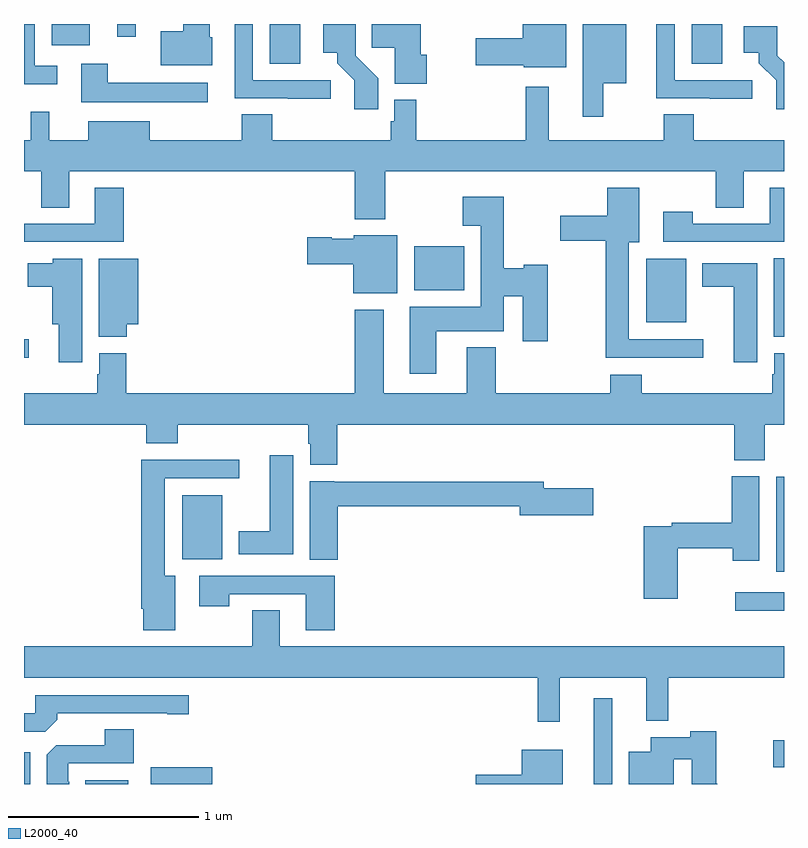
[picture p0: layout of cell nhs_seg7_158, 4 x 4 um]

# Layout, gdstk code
import gdstk
lib = gdstk.Library(unit=1e-6, precision=1e-09)
def R(c, l, rs):  # rectangles x0, y0, x1, y1
    for r in rs: c.add(gdstk.rectangle(r[:2], r[2:], *l))
def P(c, l, *ps):  # polygons
    for p in ps: c.add(gdstk.Polygon(p, *l))
L2000_40 = (2000, 40)

nhs_seg7_158 = lib.new_cell('nhs_seg7_158')
R(nhs_seg7_158, L2000_40, [(121,1056,121.033,1056.166), (121.322,1056,121.549,1056.019), (121.668,1056,121.99,1056.088), (123.998,1056,124.095,1056.451), (124.944,1056.089,125,1056.231), (124.743,1056.912,125,1057.008), (124.958,1057.118,125,1057.618), (121.832,1057.184,122.044,1057.519), (121,1058.243,121.024,1058.34), (124.946,1058.353,125,1058.768), (124.274,1058.429,124.486,1058.764), (123.053,1058.6,123.316,1058.83), (122.294,1059.792,122.455,1060), (124.514,1059.792,124.675,1060), (121.145,1059.887,121.345,1060), (121.49,1059.933,121.588,1060)])
P(nhs_seg7_158, L2000_40, [(124.048,1059.689),(124.171,1059.689),(124.171,1060),(123.941,1060),(123.941,1059.513),(124.048,1059.513)],
  [(122.614,1059.705),(122.205,1059.705),(122.205,1060),(122.109,1060),(122.109,1059.609),(122.389,1059.609),(122.389,1059.607),(122.614,1059.607)],
  [(124.834,1059.705),(124.425,1059.705),(124.425,1060),(124.328,1060),(124.328,1059.609),(124.609,1059.609),(124.609,1059.607),(124.834,1059.607)],
  [(123.853,1060),(123.626,1060),(123.626,1059.926),(123.378,1059.926),(123.378,1059.784),(123.63,1059.784),(123.63,1059.773),(123.853,1059.773)],
  [(121.99,1059.93),(121.978,1059.93),(121.978,1060),(121.838,1060),(121.838,1059.961),(121.721,1059.961),(121.721,1059.782),(121.99,1059.782)],
  [(122.864,1059.714),(122.745,1059.833),(122.745,1060),(122.576,1060),(122.576,1059.848),(122.648,1059.848),(122.648,1059.793),(122.739,1059.703),(122.739,1059.552),(122.864,1059.552)],
  [(123.121,1059.839),(123.088,1059.839),(123.088,1060),(122.83,1060),(122.83,1059.874),(122.951,1059.874),(122.951,1059.686),(123.121,1059.686)],
  [(121.174,1059.78),(121.056,1059.78),(121.056,1060),(121,1060),(121,1059.683),(121.174,1059.683)],
  [(125,1059.798),(124.965,1059.833),(124.965,1059.988),(124.788,1059.988),(124.788,1059.848),(124.868,1059.848),(124.868,1059.793),(124.959,1059.703),(124.959,1059.552),(125,1059.552)],
  [(121.966,1059.691),(121.441,1059.691),(121.441,1059.79),(121.301,1059.79),(121.301,1059.587),(121.966,1059.587)],
  [(122.901,1059.224),(124.642,1059.224),(124.642,1059.034),(124.789,1059.034),(124.789,1059.224),(125,1059.224),(125,1059.388),(124.526,1059.388),(124.526,1059.524),(124.366,1059.524),(124.366,1059.388),(123.763,1059.388),(123.763,1059.67),(123.642,1059.67),(123.642,1059.388),(123.065,1059.388),(123.065,1059.601),(122.949,1059.601),(122.949,1059.489),(122.929,1059.489),(122.929,1059.388),(122.306,1059.388),(122.306,1059.524),(122.146,1059.524),(122.146,1059.388),(121.663,1059.388),(121.663,1059.487),(121.337,1059.487),(121.337,1059.388),(121.133,1059.388),(121.133,1059.538),(121.035,1059.538),(121.035,1059.388),(121,1059.388),(121,1059.224),(121.09,1059.224),(121.09,1059.034),(121.237,1059.034),(121.237,1059.224),(122.741,1059.224),(122.741,1058.972),(122.901,1058.972)],
  [(124.576,1058.34),(124.183,1058.34),(124.183,1058.852),(124.237,1058.852),(124.237,1059.139),(124.07,1059.139),(124.07,1058.992),(123.822,1058.992),(123.822,1058.858),(124.063,1058.858),(124.063,1058.243),(124.576,1058.243)],
  [(121.526,1059.139),(121.373,1059.139),(121.373,1058.949),(121,1058.949),(121,1058.853),(121.526,1058.853)],
  [(125,1059.139),(124.925,1059.139),(124.925,1058.949),(124.521,1058.949),(124.521,1059.013),(124.365,1059.013),(124.365,1058.853),(125,1058.853)],
  [(123.169,1058.384),(123.526,1058.384),(123.526,1058.567),(123.626,1058.567),(123.626,1058.331),(123.756,1058.331),(123.756,1058.732),(123.63,1058.732),(123.63,1058.714),(123.526,1058.714),(123.526,1059.091),(123.309,1059.091),(123.309,1058.939),(123.404,1058.939),(123.404,1058.512),(123.029,1058.512),(123.029,1058.16),(123.169,1058.16)],
  [(122.965,1058.887),(122.736,1058.887),(122.736,1058.869),(122.619,1058.869),(122.619,1058.877),(122.49,1058.877),(122.49,1058.735),(122.732,1058.735),(122.732,1058.582),(122.965,1058.582)],
  [(121.306,1058.764),(121.152,1058.764),(121.152,1058.74),(121.019,1058.74),(121.019,1058.618),(121.148,1058.618),(121.148,1058.42),(121.184,1058.42),(121.184,1058.22),(121.306,1058.22)],
  [(121.541,1058.42),(121.6,1058.42),(121.6,1058.764),(121.394,1058.764),(121.394,1058.353),(121.541,1058.353)],
  [(124.858,1058.74),(124.571,1058.74),(124.571,1058.618),(124.736,1058.618),(124.736,1058.22),(124.858,1058.22)],
  [(122.648,1057.892),(124.739,1057.892),(124.739,1057.705),(124.899,1057.705),(124.899,1057.892),(125,1057.892),(125,1058.268),(124.949,1058.268),(124.949,1058.157),(124.937,1058.157),(124.937,1058.056),(124.25,1058.056),(124.25,1058.155),(124.085,1058.155),(124.085,1058.056),(123.482,1058.056),(123.482,1058.299),(123.329,1058.299),(123.329,1058.056),(122.893,1058.056),(122.893,1058.497),(122.741,1058.497),(122.741,1058.056),(121.538,1058.056),(121.538,1058.268),(121.397,1058.268),(121.397,1058.157),(121.385,1058.157),(121.385,1058.056),(121,1058.056),(121,1057.892),(121.643,1057.892),(121.643,1057.793),(121.808,1057.793),(121.808,1057.892),(122.495,1057.892),(122.495,1057.791),(122.507,1057.791),(122.507,1057.679),(122.648,1057.679)],
  [(122.416,1057.729),(122.294,1057.729),(122.294,1057.33),(122.129,1057.33),(122.129,1057.208),(122.416,1057.208)],
  [(121.795,1057.096),(121.741,1057.096),(121.741,1057.608),(122.134,1057.608),(122.134,1057.706),(121.616,1057.706),(121.616,1056.922),(121.628,1056.922),(121.628,1056.81),(121.795,1056.81)],
  [(124.44,1057.24),(124.729,1057.24),(124.729,1057.176),(124.87,1057.176),(124.87,1057.62),(124.724,1057.62),(124.724,1057.376),(124.408,1057.376),(124.408,1057.356),(124.262,1057.356),(124.262,1056.975),(124.44,1056.975)],
  [(122.651,1057.462),(123.608,1057.462),(123.608,1057.415),(123.997,1057.415),(123.997,1057.557),(123.736,1057.557),(123.736,1057.591),(122.634,1057.591),(122.634,1057.594),(122.504,1057.594),(122.504,1057.18),(122.651,1057.18)],
  [(122.636,1057.095),(121.923,1057.095),(121.923,1056.936),(122.079,1056.936),(122.079,1056.999),(122.483,1056.999),(122.483,1056.81),(122.636,1056.81)],
  [(123.821,1056.56),(124.274,1056.56),(124.274,1056.332),(124.391,1056.332),(124.391,1056.56),(125,1056.56),(125,1056.724),(122.347,1056.724),(122.347,1056.914),(122.2,1056.914),(122.2,1056.724),(121,1056.724),(121,1056.56),(123.703,1056.56),(123.703,1056.327),(123.821,1056.327)],
  [(121.175,1056.338),(121.175,1056.372),(121.754,1056.372),(121.754,1056.367),(121.867,1056.367),(121.867,1056.468),(121.059,1056.468),(121.059,1056.372),(121,1056.372),(121,1056.276),(121.113,1056.276)],
  [(121.237,1056.011),(121.233,1056.011),(121.233,1056.108),(121.577,1056.108),(121.577,1056.287),(121.424,1056.287),(121.424,1056.204),(121.17,1056.204),(121.121,1056.155),(121.121,1056),(121.237,1056)],
  [(124.42,1056.13),(124.514,1056.13),(124.514,1056),(124.649,1056),(124.649,1056.001),(124.644,1056.001),(124.644,1056.277),(124.507,1056.277),(124.507,1056.247),(124.298,1056.247),(124.298,1056.169),(124.184,1056.169),(124.184,1056),(124.42,1056)],
  [(123.835,1056.181),(123.62,1056.181),(123.62,1056.05),(123.378,1056.05),(123.378,1056),(123.835,1056)])

lib.write_gds('nhs_seg7_158.gds')
